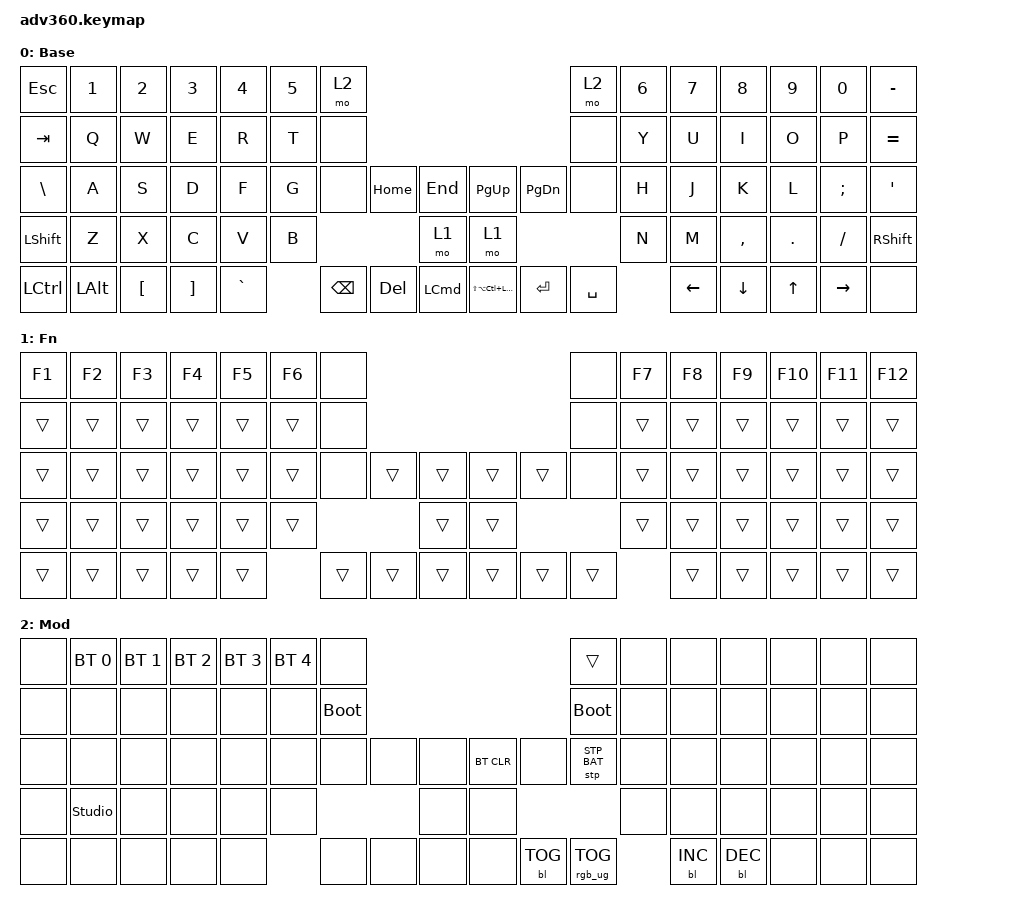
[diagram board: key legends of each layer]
#include <dt-bindings/zmk/stp.h>
#include <behaviors.dtsi>
#include <dt-bindings/zmk/backlight.h>
#include <dt-bindings/zmk/bt.h>
#include <dt-bindings/zmk/keys.h>
#include <dt-bindings/zmk/rgb.h>

/ {
    behaviors {
        #include "macros.dtsi"
      #include "version.dtsi"

        hm: homerow_mods {
            compatible = "zmk,behavior-hold-tap";
            label = "HOMEROW_MODS";
            #binding-cells = <2>;
            tapping-term-ms = <200>;
            quick_tap_ms = <175>;
            flavor = "tap-preferred";
            bindings = <&kp>, <&kp>;
        };
    };

    keymap {
        compatible = "zmk,keymap";

        default_layer {
            display-name = "Base";
            bindings = <
&kp ESCAPE     &kp N1        &kp N2            &kp N3             &kp N4     &kp N5  &mo 2                                                                              &mo 2      &kp N6  &kp N7    &kp N8     &kp N9        &kp N0     &kp MINUS
&kp TAB        &kp Q         &kp W             &kp E              &kp R      &kp T   &none                                                                              &none      &kp Y   &kp U     &kp I      &kp O         &kp P      &kp EQUAL
&kp BACKSLASH  &kp A         &kp S             &kp D              &kp F      &kp G   &none     &kp HOME  &kp END               &kp PAGE_UP               &kp PAGE_DOWN  &none      &kp H   &kp J     &kp K      &kp L         &kp SEMI   &kp SQT
&kp LSHFT      &kp Z         &kp X             &kp C              &kp V      &kp B                       &mo 1                 &mo 1                                               &kp N   &kp M     &kp COMMA  &kp DOT       &kp FSLH   &kp RSHFT
&kp LCTRL      &kp LEFT_ALT  &kp LEFT_BRACKET  &kp RIGHT_BRACKET  &kp GRAVE          &kp BSPC  &kp DEL   &kp LEFT_COMMAND      &kp LS(LA(LC(LEFT_GUI)))  &kp ENTER      &kp SPACE          &kp LEFT  &kp DOWN   &kp UP_ARROW  &kp RIGHT  &none
            >;
        };

        fn {
            display-name = "Fn";
            bindings = <
&kp F1  &kp F2  &kp F3  &kp F4  &kp F5  &kp F6  &none                                       &none   &kp F7  &kp F8  &kp F9  &kp F10  &kp F11  &kp F12
&trans  &trans  &trans  &trans  &trans  &trans  &none                                       &none   &trans  &trans  &trans  &trans   &trans   &trans
&trans  &trans  &trans  &trans  &trans  &trans  &none   &trans  &trans      &trans  &trans  &none   &trans  &trans  &trans  &trans   &trans   &trans
&trans  &trans  &trans  &trans  &trans  &trans                  &trans      &trans                  &trans  &trans  &trans  &trans   &trans   &trans
&trans  &trans  &trans  &trans  &trans          &trans  &trans  &trans      &trans  &trans  &trans          &trans  &trans  &trans   &trans   &trans
            >;
        };

        mod {
            display-name = "Mod";
            bindings = <
&none  &bt BT_SEL 0    &bt BT_SEL 1  &bt BT_SEL 2  &bt BT_SEL 3  &bt BT_SEL 4  &none                                                  &trans           &none  &none       &none       &none  &none  &none
&none  &none           &none         &none         &none         &none         &bootloader                                            &bootloader      &none  &none       &none       &none  &none  &none
&none  &none           &none         &none         &none         &none         &none        &none  &none      &bt BT_CLR  &none       &stp STP_BAT     &none  &none       &none       &none  &none  &none
&none  &studio_unlock  &none         &none         &none         &none                             &none      &none                                    &none  &none       &none       &none  &none  &none
&none  &none           &none         &none         &none                       &none        &none  &none      &none       &bl BL_TOG  &rgb_ug RGB_TOG         &bl BL_INC  &bl BL_DEC  &none  &none  &none
            >;
        };
    };
};
